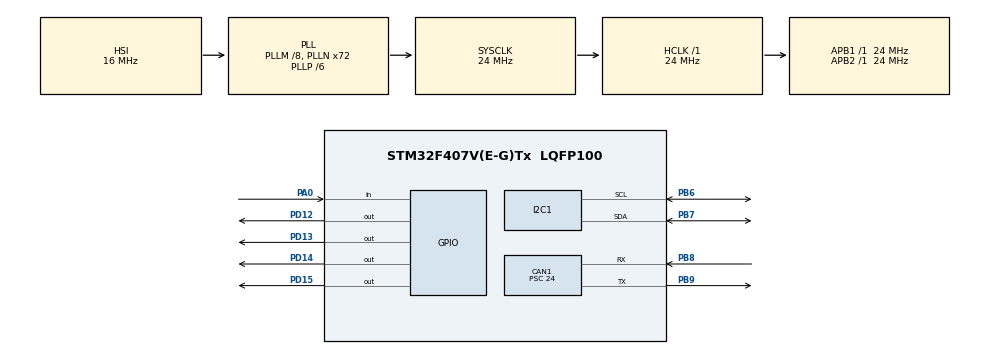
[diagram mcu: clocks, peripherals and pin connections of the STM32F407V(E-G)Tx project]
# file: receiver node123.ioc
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CAN1.BS1=CAN_BS1_13TQ
CAN1.BS2=CAN_BS2_2TQ
CAN1.CalculateBaudRate=62500
CAN1.CalculateTimeBit=16000
CAN1.CalculateTimeQuantum=1000.0
CAN1.Prescaler=24
I2C1.I2C_Mode=I2C_Fast
Mcu.Family=STM32F4
Mcu.Name=STM32F407V(E-G)Tx
Mcu.Package=LQFP100
NVIC.CAN1_RX0_IRQn=true\:0\:0\:false\:false\:true\:true\:true\:true
NVIC.CAN1_RX1_IRQn=true\:0\:0\:false\:false\:true\:true\:true\:true
NVIC.CAN1_SCE_IRQn=true\:0\:0\:false\:false\:true\:true\:true\:true
NVIC.PriorityGroup=NVIC_PRIORITYGROUP_4
PA0-WKUP.Signal=GPIO_Input
PA13.Mode=Serial_Wire
PA13.Signal=SYS_JTMS-SWDIO
PA14.Mode=Serial_Wire
PA14.Signal=SYS_JTCK-SWCLK
PB6.Mode=I2C
PB6.Signal=I2C1_SCL
PB7.Mode=I2C
PB7.Signal=I2C1_SDA
PB8.Mode=CAN_Activate
PB8.Signal=CAN1_RX
PB9.Mode=CAN_Activate
PB9.Signal=CAN1_TX
PC14-OSC32_IN.Mode=LSE-External-Oscillator
PC14-OSC32_IN.Signal=RCC_OSC32_IN
PC15-OSC32_OUT.Mode=LSE-External-Oscillator
PC15-OSC32_OUT.Signal=RCC_OSC32_OUT
PD12.Signal=GPIO_Output
PD13.Signal=GPIO_Output
PD14.Signal=GPIO_Output
PD15.Signal=GPIO_Output
PH0-OSC_IN.Mode=HSE-External-Oscillator
PH0-OSC_IN.Signal=RCC_OSC_IN
PH1-OSC_OUT.Mode=HSE-External-Oscillator
PH1-OSC_OUT.Signal=RCC_OSC_OUT
ProjectManager.HeapSize=0x200
ProjectManager.StackSize=0x400
ProjectManager.TargetToolchain=STM32CubeIDE
RCC.48MHZClocksFreq_Value=36000000
RCC.AHBFreq_Value=24000000
RCC.APB1Freq_Value=24000000
RCC.APB1TimFreq_Value=24000000
RCC.APB2Freq_Value=24000000
RCC.APB2TimFreq_Value=24000000
RCC.CortexFreq_Value=24000000
RCC.HCLKFreq_Value=24000000
RCC.HSE_VALUE=25000000
RCC.HSI_VALUE=16000000
RCC.PLLM=8
RCC.PLLN=72
RCC.PLLP=RCC_PLLP_DIV6
RCC.SYSCLKFreq_VALUE=24000000
RCC.SYSCLKSource=RCC_SYSCLKSOURCE_PLLCLK
RCC.VCOOutputFreq_Value=144000000
board=custom

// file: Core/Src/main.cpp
/* USER CODE BEGIN Header */
/**
  ******************************************************************************
  * @file           : main.c
  * @brief          : Main program body
  ******************************************************************************
  * @attention
  *
  * Copyright (c) 2024 STMicroelectronics.
  * All rights reserved.
  *
  * This software is licensed under terms that can be found in the LICENSE file
  * in the root directory of this software component.
  * If no LICENSE file comes with this software, it is provided AS-IS.
  *
  ******************************************************************************
  */
/* USER CODE END Header */
#include "main.h"

/* USER CODE BEGIN Includes */
#include "RJA_SSD1306.h"

/* USER CODE END Includes */

CAN_HandleTypeDef hcan1;

I2C_HandleTypeDef hi2c1;

/* USER CODE BEGIN PV */
CAN_RxHeaderTypeDef   RxHeader; // CAN Data Frame header fields like RTR Bit, DLC, ID
uint8_t               RxData[8]; // Actual Payload
uint8_t               temp_sensor;
uint8_t               temp_in_f_sensor;
uint8_t               proximity_sensor;
uint8_t               fingerprint_sensor;
char                 temperature_buffer[10];
OLED OLED1;

volatile uint8_t      update_display_flag = 0; // Flag to indicate display update

/* USER CODE END PV */

void SystemClock_Config(void);
static void MX_GPIO_Init(void);
static void MX_CAN1_Init(void);
static void MX_I2C1_Init(void);
/* USER CODE BEGIN PFP */
void CAN_filterConfig (void);
void updateDisplay(void);

/* USER CODE END PFP */

int main(void)
{

  /* MCU Configuration--------------------------------------------------------*/

  /* Reset of all peripherals, Initializes the Flash interface and the Systick. */
  HAL_Init();

  /* Configure the system clock */
  SystemClock_Config();

  /* Initialize all configured peripherals */
  MX_GPIO_Init();
  MX_CAN1_Init();
  MX_I2C1_Init();
  /* USER CODE BEGIN 2 */
  OLED1.init(&hi2c1);
  if(HAL_I2C_IsDeviceReady(&hi2c1, OLED1.getCAddress(), 1, 15)==HAL_OK)
  {
      HAL_GPIO_TogglePin(GPIOD, GPIO_PIN_13);

  }
  else
  {
      Error_Handler();
  }
  CAN_filterConfig();

   if (HAL_CAN_Start(&hcan1) != HAL_OK)
   {
     /* Start Error */
     Error_Handler();
   }
   if (HAL_CAN_ActivateNotification(&hcan1, CAN_IT_RX_FIFO0_MSG_PENDING) != HAL_OK)
   {
     /* Notification Error */
     Error_Handler();
   }

   // Initial display update
   updateDisplay();

  /* USER CODE END 2 */

  /* Infinite loop */
  /* USER CODE BEGIN WHILE */
  while (1)
  {
	  // Check if update_display_flag is set
	      if (update_display_flag)
	      {
	          update_display_flag = 0;
	          updateDisplay();
	      }

	      // Main loop can be used for other tasks
	      HAL_Delay(100); // Just for better tuning

    /* USER CODE END WHILE */

  }
}

void SystemClock_Config(void)
{
  RCC_OscInitTypeDef RCC_OscInitStruct = {0};
  RCC_ClkInitTypeDef RCC_ClkInitStruct = {0};

  /** Configure the main internal regulator output voltage
  */
  __HAL_RCC_PWR_CLK_ENABLE();
  __HAL_PWR_VOLTAGESCALING_CONFIG(PWR_REGULATOR_VOLTAGE_SCALE1);

  /** Initializes the RCC Oscillators according to the specified parameters
  * in the RCC_OscInitTypeDef structure.
  */
  RCC_OscInitStruct.OscillatorType = RCC_OSCILLATORTYPE_HSI;
  RCC_OscInitStruct.HSIState = RCC_HSI_ON;
  RCC_OscInitStruct.HSICalibrationValue = RCC_HSICALIBRATION_DEFAULT;
  RCC_OscInitStruct.PLL.PLLState = RCC_PLL_ON;
  RCC_OscInitStruct.PLL.PLLSource = RCC_PLLSOURCE_HSI;
  RCC_OscInitStruct.PLL.PLLM = 8;
  RCC_OscInitStruct.PLL.PLLN = 72;
  RCC_OscInitStruct.PLL.PLLP = RCC_PLLP_DIV6;
  RCC_OscInitStruct.PLL.PLLQ = 4;
  if (HAL_RCC_OscConfig(&RCC_OscInitStruct) != HAL_OK)
  {
    Error_Handler();
  }

  /** Initializes the CPU, AHB and APB buses clocks
  */
  RCC_ClkInitStruct.ClockType = RCC_CLOCKTYPE_HCLK|RCC_CLOCKTYPE_SYSCLK
                              |RCC_CLOCKTYPE_PCLK1|RCC_CLOCKTYPE_PCLK2;
  RCC_ClkInitStruct.SYSCLKSource = RCC_SYSCLKSOURCE_PLLCLK;
  RCC_ClkInitStruct.AHBCLKDivider = RCC_SYSCLK_DIV1;
  RCC_ClkInitStruct.APB1CLKDivider = RCC_HCLK_DIV1;
  RCC_ClkInitStruct.APB2CLKDivider = RCC_HCLK_DIV1;

  if (HAL_RCC_ClockConfig(&RCC_ClkInitStruct, FLASH_LATENCY_0) != HAL_OK)
  {
    Error_Handler();
  }
}

static void MX_CAN1_Init(void)
{

  hcan1.Instance = CAN1;
  hcan1.Init.Prescaler = 24;
  hcan1.Init.Mode = CAN_MODE_NORMAL;
  hcan1.Init.SyncJumpWidth = CAN_SJW_1TQ;
  hcan1.Init.TimeSeg1 = CAN_BS1_13TQ;
  hcan1.Init.TimeSeg2 = CAN_BS2_2TQ;
  hcan1.Init.TimeTriggeredMode = DISABLE;
  hcan1.Init.AutoBusOff = DISABLE;
  hcan1.Init.AutoWakeUp = DISABLE;
  hcan1.Init.AutoRetransmission = DISABLE;
  hcan1.Init.ReceiveFifoLocked = DISABLE;
  hcan1.Init.TransmitFifoPriority = DISABLE;
  if (HAL_CAN_Init(&hcan1) != HAL_OK)
  {
    Error_Handler();
  }

}

static void MX_I2C1_Init(void)
{

  hi2c1.Instance = I2C1;
  hi2c1.Init.ClockSpeed = 400000;
  hi2c1.Init.DutyCycle = I2C_DUTYCYCLE_2;
  hi2c1.Init.OwnAddress1 = 0;
  hi2c1.Init.AddressingMode = I2C_ADDRESSINGMODE_7BIT;
  hi2c1.Init.DualAddressMode = I2C_DUALADDRESS_DISABLE;
  hi2c1.Init.OwnAddress2 = 0;
  hi2c1.Init.GeneralCallMode = I2C_GENERALCALL_DISABLE;
  hi2c1.Init.NoStretchMode = I2C_NOSTRETCH_DISABLE;
  if (HAL_I2C_Init(&hi2c1) != HAL_OK)
  {
    Error_Handler();
  }

}

static void MX_GPIO_Init(void)
{
  GPIO_InitTypeDef GPIO_InitStruct = {0};

  /* GPIO Ports Clock Enable */
  __HAL_RCC_GPIOC_CLK_ENABLE();
  __HAL_RCC_GPIOH_CLK_ENABLE();
  __HAL_RCC_GPIOA_CLK_ENABLE();
  __HAL_RCC_GPIOD_CLK_ENABLE();
  __HAL_RCC_GPIOB_CLK_ENABLE();

  /*Configure GPIO pin Output Level */
  HAL_GPIO_WritePin(GPIOD, GPIO_PIN_12|GPIO_PIN_13|GPIO_PIN_14|GPIO_PIN_15, GPIO_PIN_RESET);

  /*Configure GPIO pin : PA0 */
  GPIO_InitStruct.Pin = GPIO_PIN_0;
  GPIO_InitStruct.Mode = GPIO_MODE_INPUT;
  GPIO_InitStruct.Pull = GPIO_NOPULL;
  HAL_GPIO_Init(GPIOA, &GPIO_InitStruct);

  /*Configure GPIO pins : PD12 PD13 PD14 PD15 */
  GPIO_InitStruct.Pin = GPIO_PIN_12|GPIO_PIN_13|GPIO_PIN_14|GPIO_PIN_15;
  GPIO_InitStruct.Mode = GPIO_MODE_OUTPUT_PP;
  GPIO_InitStruct.Pull = GPIO_NOPULL;
  GPIO_InitStruct.Speed = GPIO_SPEED_FREQ_LOW;
  HAL_GPIO_Init(GPIOD, &GPIO_InitStruct);

}

/* USER CODE BEGIN 4 */
void CAN_filterConfig (void)
{
  CAN_FilterTypeDef sFilterConfig;
  sFilterConfig.FilterBank = 0;
  sFilterConfig.FilterMode = CAN_FILTERMODE_IDMASK;
  sFilterConfig.FilterScale = CAN_FILTERSCALE_32BIT;
  sFilterConfig.FilterIdHigh = 0x0000;
  sFilterConfig.FilterIdLow = 0x0000;
  sFilterConfig.FilterMaskIdHigh = 0x0000;
  sFilterConfig.FilterMaskIdLow = 0x0000;
  sFilterConfig.FilterFIFOAssignment = CAN_FILTER_FIFO0;
  sFilterConfig.FilterActivation = ENABLE;
  sFilterConfig.SlaveStartFilterBank = 14;
  if (HAL_CAN_ConfigFilter(&hcan1, &sFilterConfig) != HAL_OK)
  {
    Error_Handler();
  }
}

void HAL_CAN_RxFifo0MsgPendingCallback(CAN_HandleTypeDef *hcan)
{
 /* Get RX message from Fifo0 as message is Pending in Fifo to be Read */
 if (HAL_CAN_GetRxMessage(hcan, CAN_RX_FIFO0, &RxHeader, RxData) != HAL_OK)
 {
   /* Reception Error */
   Error_Handler();
 }
 /* Display LEDx */
 if ((RxHeader.StdId == 0x123) && (RxHeader.IDE == CAN_ID_STD) && (RxHeader.DLC == 4))
 {
   fingerprint_sensor = RxData[0];
   proximity_sensor = RxData[1];
   temp_sensor = RxData[2];
   temp_in_f_sensor = RxData[3];

   // Set the flag to update the display
   update_display_flag = 1;
 }
}

void updateDisplay(void)
{
    // Create the temperature display buffer
    sprintf(temperature_buffer, "TEMP:%d C %d F", temp_sensor, temp_in_f_sensor);

    // Clear the OLED display
    OLED1.fill(0);
    int line_height = 17; // Assuming each line of text is 17 pixels high
    int y = 0;

    // Display the dashboard title with a bold effect by drawing multiple times with slight offsets
    OLED1.text(0, y, "Car Dashboard", 1, 1, 1);
    OLED1.text(1, y, "Car Dashboard", 1, 1, 1);
    y += line_height;

    // Check if the fingerprint sensor has verified the user
    if (fingerprint_sensor == 1)
    {
        // Display "Car is Ready"
        OLED1.text(0, y, "Car is Ready", 1, 1, 1);
        y += line_height;

        // Check the proximity sensor and display the appropriate message
        if (proximity_sensor == 1)
        {
            OLED1.text(0, y, "Safe Road Ahead", 1, 1, 1);
        }
        else
        {
            OLED1.text(0, y, "Object Detected", 1, 1, 1);
        }
        y += line_height;

        // Display the temperature value
        OLED1.text(0, y, temperature_buffer, 1, 1, 1);
    }
    else
    {
        // Display "Verify fingerprint"
        OLED1.text(0, y, "Verify fingerprint...", 1, 1, 1);
    }

    // Draw the updated screen
    OLED1.drawFullscreen();
    HAL_Delay(2000);
}

/* USER CODE END 4 */

void Error_Handler(void)
{
  /* USER CODE BEGIN Error_Handler_Debug */
 /* User can add his own implementation to report the HAL error return state */
	HAL_GPIO_WritePin(GPIOD, GPIO_PIN_14, GPIO_PIN_SET);
  /* USER CODE END Error_Handler_Debug */
}
